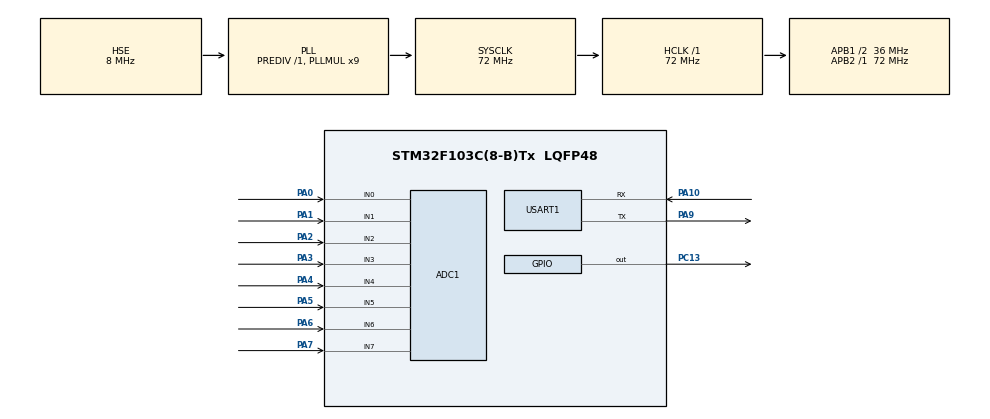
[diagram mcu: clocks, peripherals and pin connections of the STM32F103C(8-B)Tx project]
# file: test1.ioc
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ADC1.Channel-1\#ChannelRegularConversion=ADC_CHANNEL_1
ADC1.Channel-2\#ChannelRegularConversion=ADC_CHANNEL_2
ADC1.Channel-3\#ChannelRegularConversion=ADC_CHANNEL_3
ADC1.Channel-4\#ChannelRegularConversion=ADC_CHANNEL_4
ADC1.Channel-5\#ChannelRegularConversion=ADC_CHANNEL_5
ADC1.Channel-6\#ChannelRegularConversion=ADC_CHANNEL_6
ADC1.Channel-7\#ChannelRegularConversion=ADC_CHANNEL_7
ADC1.ContinuousConvMode=ENABLE
ADC1.NbrOfConversion=8
ADC1.NbrOfConversionFlag=1
ADC1.Rank-1\#ChannelRegularConversion=2
ADC1.Rank-2\#ChannelRegularConversion=3
ADC1.Rank-3\#ChannelRegularConversion=4
ADC1.Rank-4\#ChannelRegularConversion=5
ADC1.Rank-5\#ChannelRegularConversion=6
ADC1.Rank-6\#ChannelRegularConversion=7
ADC1.Rank-7\#ChannelRegularConversion=8
ADC1.SamplingTime-0\#ChannelRegularConversion=ADC_SAMPLETIME_71CYCLES_5
ADC1.SamplingTime-1\#ChannelRegularConversion=ADC_SAMPLETIME_71CYCLES_5
ADC1.SamplingTime-2\#ChannelRegularConversion=ADC_SAMPLETIME_71CYCLES_5
ADC1.SamplingTime-3\#ChannelRegularConversion=ADC_SAMPLETIME_71CYCLES_5
ADC1.SamplingTime-4\#ChannelRegularConversion=ADC_SAMPLETIME_71CYCLES_5
ADC1.SamplingTime-5\#ChannelRegularConversion=ADC_SAMPLETIME_71CYCLES_5
ADC1.SamplingTime-6\#ChannelRegularConversion=ADC_SAMPLETIME_71CYCLES_5
ADC1.SamplingTime-7\#ChannelRegularConversion=ADC_SAMPLETIME_71CYCLES_5
ADC1.master=1
Mcu.Family=STM32F1
Mcu.Name=STM32F103C(8-B)Tx
Mcu.Package=LQFP48
NVIC.PriorityGroup=NVIC_PRIORITYGROUP_4
PA0-WKUP.Signal=ADCx_IN0
PA1.Signal=ADCx_IN1
PA10.Mode=Asynchronous
PA10.Signal=USART1_RX
PA13.Mode=Serial_Wire
PA13.Signal=SYS_JTMS-SWDIO
PA14.Mode=Serial_Wire
PA14.Signal=SYS_JTCK-SWCLK
PA2.Signal=ADCx_IN2
PA3.Signal=ADCx_IN3
PA4.Signal=ADCx_IN4
PA5.Signal=ADCx_IN5
PA6.Signal=ADCx_IN6
PA7.Signal=ADCx_IN7
PA9.Mode=Asynchronous
PA9.Signal=USART1_TX
PC13-TAMPER-RTC.Signal=GPIO_Output
PD0-OSC_IN.Mode=HSE-External-Oscillator
PD0-OSC_IN.Signal=RCC_OSC_IN
PD1-OSC_OUT.Mode=HSE-External-Oscillator
PD1-OSC_OUT.Signal=RCC_OSC_OUT
ProjectManager.HeapSize=0x200
ProjectManager.StackSize=0x400
ProjectManager.TargetToolchain=MDK-ARM V5.32
RCC.ADCPresc=RCC_ADCPCLK2_DIV6
RCC.AHBFreq_Value=72000000
RCC.APB1CLKDivider=RCC_HCLK_DIV2
RCC.APB1Freq_Value=36000000
RCC.APB1TimFreq_Value=72000000
RCC.APB2Freq_Value=72000000
RCC.APB2TimFreq_Value=72000000
RCC.HCLKFreq_Value=72000000
RCC.PLLMUL=RCC_PLL_MUL9
RCC.PLLSourceVirtual=RCC_PLLSOURCE_HSE
RCC.SYSCLKFreq_VALUE=72000000
RCC.SYSCLKSource=RCC_SYSCLKSOURCE_PLLCLK
RCC.USBFreq_Value=72000000
SH.ADCx_IN0.0=ADC1_IN0,IN0
SH.ADCx_IN1.0=ADC1_IN1,IN1
SH.ADCx_IN2.0=ADC1_IN2,IN2
SH.ADCx_IN3.0=ADC1_IN3,IN3
SH.ADCx_IN4.0=ADC1_IN4,IN4
SH.ADCx_IN5.0=ADC1_IN5,IN5
SH.ADCx_IN6.0=ADC1_IN6,IN6
SH.ADCx_IN7.0=ADC1_IN7,IN7
USART1.VirtualMode=VM_ASYNC
board=custom

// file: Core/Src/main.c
/* USER CODE BEGIN Header */
/**
  ******************************************************************************
  * @file           : main.c
  * @brief          : Main program body
  ******************************************************************************
  * @attention
  *
  * Copyright (c) 2026 STMicroelectronics.
  * All rights reserved.
  *
  * This software is licensed under terms that can be found in the LICENSE file
  * in the root directory of this software component.
  * If no LICENSE file comes with this software, it is provided AS-IS.
  *
  ******************************************************************************
  */
/* USER CODE END Header */
#include "main.h"

/* USER CODE BEGIN Includes */
#include <stdio.h>
/* USER CODE END Includes */

ADC_HandleTypeDef hadc1;

UART_HandleTypeDef huart1;

/* USER CODE BEGIN PV */
uint16_t adc[8];
#define TH_BLACK 1600
/* USER CODE END PV */

void SystemClock_Config(void);
static void MX_GPIO_Init(void);
static void MX_ADC1_Init(void);
static void MX_USART1_UART_Init(void);

/* USER CODE BEGIN 0 */
static uint16_t read_ch(uint32_t ch)
{
    ADC_ChannelConfTypeDef cfg = {0};
    cfg.Channel      = ch;                        // ??????
    cfg.Rank         = ADC_REGULAR_RANK_1;
    cfg.SamplingTime = ADC_SAMPLETIME_71CYCLES_5; // ?????,????
    HAL_ADC_ConfigChannel(&hadc1, &cfg);

    HAL_ADC_Start(&hadc1);
    HAL_ADC_PollForConversion(&hadc1, 10);
    uint16_t v = HAL_ADC_GetValue(&hadc1);
    HAL_ADC_Stop(&hadc1);
    return v;
}
/* USER CODE END 0 */

int main(void)
{

  /* MCU Configuration--------------------------------------------------------*/

  /* Reset of all peripherals, Initializes the Flash interface and the Systick. */
  HAL_Init();

  /* Configure the system clock */
  SystemClock_Config();

  /* Initialize all configured peripherals */
  MX_GPIO_Init();
  MX_ADC1_Init();
  MX_USART1_UART_Init();
  /* USER CODE BEGIN 2 */
HAL_GPIO_WritePin(GPIOC, GPIO_PIN_13, GPIO_PIN_SET);   // ???
HAL_Delay(300);
  /* USER CODE END 2 */

  /* Infinite loop */
  /* USER CODE BEGIN WHILE */
  while (1)
  {
		uint8_t cnt = 0;
    char buf[80];
    int  n = 0;

    for (int i = 0; i < 8; i++)
    {
        adc[i] = read_ch(ADC_CHANNEL_0 + i);      // ??? 0~7 ???
        if (adc[i] > TH_BLACK) cnt++;
        n += snprintf(buf + n, sizeof(buf) - n, "%4u", adc[i]);
    }

    if (cnt > 0) HAL_GPIO_WritePin(GPIOC, GPIO_PIN_13, GPIO_PIN_RESET);  // ?
    else         HAL_GPIO_WritePin(GPIOC, GPIO_PIN_13, GPIO_PIN_SET);    // ?

    n += snprintf(buf + n, sizeof(buf) - n, " |%u\r\n", cnt);
    HAL_UART_Transmit(&huart1, (uint8_t *)buf, n, 50);
    HAL_Delay(100);
    /* USER CODE END WHILE */

  }
}

void SystemClock_Config(void)
{
  RCC_OscInitTypeDef RCC_OscInitStruct = {0};
  RCC_ClkInitTypeDef RCC_ClkInitStruct = {0};
  RCC_PeriphCLKInitTypeDef PeriphClkInit = {0};

  /** Initializes the RCC Oscillators according to the specified parameters
  * in the RCC_OscInitTypeDef structure.
  */
  RCC_OscInitStruct.OscillatorType = RCC_OSCILLATORTYPE_HSE;
  RCC_OscInitStruct.HSEState = RCC_HSE_ON;
  RCC_OscInitStruct.HSEPredivValue = RCC_HSE_PREDIV_DIV1;
  RCC_OscInitStruct.HSIState = RCC_HSI_ON;
  RCC_OscInitStruct.PLL.PLLState = RCC_PLL_ON;
  RCC_OscInitStruct.PLL.PLLSource = RCC_PLLSOURCE_HSE;
  RCC_OscInitStruct.PLL.PLLMUL = RCC_PLL_MUL9;
  if (HAL_RCC_OscConfig(&RCC_OscInitStruct) != HAL_OK)
  {
    Error_Handler();
  }

  /** Initializes the CPU, AHB and APB buses clocks
  */
  RCC_ClkInitStruct.ClockType = RCC_CLOCKTYPE_HCLK|RCC_CLOCKTYPE_SYSCLK
                              |RCC_CLOCKTYPE_PCLK1|RCC_CLOCKTYPE_PCLK2;
  RCC_ClkInitStruct.SYSCLKSource = RCC_SYSCLKSOURCE_PLLCLK;
  RCC_ClkInitStruct.AHBCLKDivider = RCC_SYSCLK_DIV1;
  RCC_ClkInitStruct.APB1CLKDivider = RCC_HCLK_DIV2;
  RCC_ClkInitStruct.APB2CLKDivider = RCC_HCLK_DIV1;

  if (HAL_RCC_ClockConfig(&RCC_ClkInitStruct, FLASH_LATENCY_2) != HAL_OK)
  {
    Error_Handler();
  }
  PeriphClkInit.PeriphClockSelection = RCC_PERIPHCLK_ADC;
  PeriphClkInit.AdcClockSelection = RCC_ADCPCLK2_DIV6;
  if (HAL_RCCEx_PeriphCLKConfig(&PeriphClkInit) != HAL_OK)
  {
    Error_Handler();
  }
}

static void MX_ADC1_Init(void)
{

  ADC_ChannelConfTypeDef sConfig = {0};

  /** Common config
  */
  hadc1.Instance = ADC1;
  hadc1.Init.ScanConvMode = ADC_SCAN_ENABLE;
  hadc1.Init.ContinuousConvMode = ENABLE;
  hadc1.Init.DiscontinuousConvMode = DISABLE;
  hadc1.Init.ExternalTrigConv = ADC_SOFTWARE_START;
  hadc1.Init.DataAlign = ADC_DATAALIGN_RIGHT;
  hadc1.Init.NbrOfConversion = 8;
  if (HAL_ADC_Init(&hadc1) != HAL_OK)
  {
    Error_Handler();
  }

  /** Configure Regular Channel
  */
  sConfig.Channel = ADC_CHANNEL_0;
  sConfig.Rank = ADC_REGULAR_RANK_1;
  sConfig.SamplingTime = ADC_SAMPLETIME_71CYCLES_5;
  if (HAL_ADC_ConfigChannel(&hadc1, &sConfig) != HAL_OK)
  {
    Error_Handler();
  }

  /** Configure Regular Channel
  */
  sConfig.Channel = ADC_CHANNEL_1;
  sConfig.Rank = ADC_REGULAR_RANK_2;
  if (HAL_ADC_ConfigChannel(&hadc1, &sConfig) != HAL_OK)
  {
    Error_Handler();
  }

  /** Configure Regular Channel
  */
  sConfig.Channel = ADC_CHANNEL_2;
  sConfig.Rank = ADC_REGULAR_RANK_3;
  if (HAL_ADC_ConfigChannel(&hadc1, &sConfig) != HAL_OK)
  {
    Error_Handler();
  }

  /** Configure Regular Channel
  */
  sConfig.Channel = ADC_CHANNEL_3;
  sConfig.Rank = ADC_REGULAR_RANK_4;
  if (HAL_ADC_ConfigChannel(&hadc1, &sConfig) != HAL_OK)
  {
    Error_Handler();
  }

  /** Configure Regular Channel
  */
  sConfig.Channel = ADC_CHANNEL_4;
  sConfig.Rank = ADC_REGULAR_RANK_5;
  if (HAL_ADC_ConfigChannel(&hadc1, &sConfig) != HAL_OK)
  {
    Error_Handler();
  }

  /** Configure Regular Channel
  */
  sConfig.Channel = ADC_CHANNEL_5;
  sConfig.Rank = ADC_REGULAR_RANK_6;
  if (HAL_ADC_ConfigChannel(&hadc1, &sConfig) != HAL_OK)
  {
    Error_Handler();
  }

  /** Configure Regular Channel
  */
  sConfig.Channel = ADC_CHANNEL_6;
  sConfig.Rank = ADC_REGULAR_RANK_7;
  if (HAL_ADC_ConfigChannel(&hadc1, &sConfig) != HAL_OK)
  {
    Error_Handler();
  }

  /** Configure Regular Channel
  */
  sConfig.Channel = ADC_CHANNEL_7;
  sConfig.Rank = ADC_REGULAR_RANK_8;
  if (HAL_ADC_ConfigChannel(&hadc1, &sConfig) != HAL_OK)
  {
    Error_Handler();
  }

}

static void MX_USART1_UART_Init(void)
{

  huart1.Instance = USART1;
  huart1.Init.BaudRate = 115200;
  huart1.Init.WordLength = UART_WORDLENGTH_8B;
  huart1.Init.StopBits = UART_STOPBITS_1;
  huart1.Init.Parity = UART_PARITY_NONE;
  huart1.Init.Mode = UART_MODE_TX_RX;
  huart1.Init.HwFlowCtl = UART_HWCONTROL_NONE;
  huart1.Init.OverSampling = UART_OVERSAMPLING_16;
  if (HAL_UART_Init(&huart1) != HAL_OK)
  {
    Error_Handler();
  }

}

static void MX_GPIO_Init(void)
{
  GPIO_InitTypeDef GPIO_InitStruct = {0};

  /* GPIO Ports Clock Enable */
  __HAL_RCC_GPIOC_CLK_ENABLE();
  __HAL_RCC_GPIOD_CLK_ENABLE();
  __HAL_RCC_GPIOA_CLK_ENABLE();

  /*Configure GPIO pin Output Level */
  HAL_GPIO_WritePin(GPIOC, GPIO_PIN_13, GPIO_PIN_RESET);

  /*Configure GPIO pin : PC13 */
  GPIO_InitStruct.Pin = GPIO_PIN_13;
  GPIO_InitStruct.Mode = GPIO_MODE_OUTPUT_PP;
  GPIO_InitStruct.Pull = GPIO_NOPULL;
  GPIO_InitStruct.Speed = GPIO_SPEED_FREQ_LOW;
  HAL_GPIO_Init(GPIOC, &GPIO_InitStruct);

}

void Error_Handler(void)
{
  __disable_irq();
  while (1)
  {
  }
}
